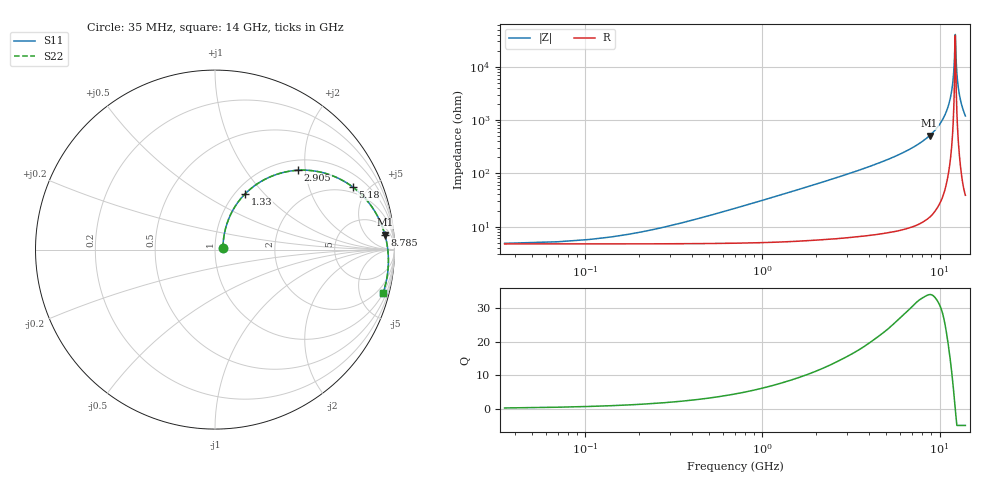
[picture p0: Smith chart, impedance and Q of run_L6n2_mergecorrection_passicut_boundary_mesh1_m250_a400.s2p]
#  Hz  S  RI  R  50
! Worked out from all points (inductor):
!   400 points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, 35 MHz to 14 GHz, reference 50 ohm
!   read as one part in series: L = 4.86 nH near 490 MHz
!   highest Q = 34.1 at 8.785 GHz (marker M1), where L = 9.22 nH
!   self-resonance near 12.25 GHz
!   S11 on the Smith chart (normalised r, x): 35 MHz: 1.09, +0.02; 1.33 GHz: 1.11, +0.78; 2.905 GHz: 1.22, +1.82; 5.18 GHz: 1.64, +3.96; 8.785 GHz: 10, +17; 14 GHz: 1.05, -7.78
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3.5e7  0.044 0.00908  0.9538 -0.0104  0.9538 -0.0105  0.044 0.00907
3.5e8  0.0526 0.0903  0.9419 -0.1029  0.9419 -0.1029  0.0526 0.0902
5.95e8  0.0691 0.1516  0.9205 -0.1703  0.9205 -0.1703  0.0691 0.1516
1.33e9  0.1661 0.3088  0.8139 -0.3333  0.814 -0.3333  0.1661 0.3088
2.38e9  0.3632 0.4253  0.614 -0.4597  0.6139 -0.4597  0.3631 0.4252
2.905e9  0.4605 0.4421  0.5156 -0.4813  0.5156 -0.4813  0.4604 0.442
4.69e9  0.7174 0.3817  0.2564 -0.4399  0.2564 -0.4399  0.7174 0.3817
5.18e9  0.7668 0.3494  0.2065 -0.413  0.2065 -0.413  0.7667 0.3493
7.035e9  0.8912 0.2119  0.0798 -0.296  0.0798 -0.296  0.8911 0.2118
8.785e9  0.9467 0.0831  0.0218 -0.1869  0.0218 -0.1869  0.9466 0.083
9.345e9  0.956 0.0439  0.0116 -0.154  0.0116 -0.154  0.956 0.0438
1.0815e10  0.9662 -0.0539  -0.00101 -0.0731  -0.000995 -0.0731  0.9661 -0.054
1.169e10  0.9643 -0.1085  -0.00067 -0.0286  -0.000683 -0.0285  0.9642 -0.1086
1.204e10  0.962 -0.1296  0.000839 -0.0114  0.000852 -0.0114  0.962 -0.1297
1.2145e10  0.9612 -0.1359  0.00145 -0.00639  0.00147 -0.00638  0.9612 -0.136
1.225e10  0.9604 -0.1421  0.00213 -0.00138  0.00215 -0.00138  0.9603 -0.1422
1.2285e10  0.9601 -0.1442  0.00237 0.000284  0.00239 0.000281  0.96 -0.1443
1.239e10  0.9591 -0.1503  0.00313 0.00524  0.00316 0.00523  0.9591 -0.1505
1.246e10  0.9585 -0.1544  0.00368 0.00852  0.0037 0.0085  0.9584 -0.1546
1.274e10  0.9555 -0.1707  0.00612 0.0215  0.00611 0.0214  0.9554 -0.1709
1.323e10  0.9491 -0.1986  0.0113 0.0435  0.0113 0.0435  0.949 -0.1986
1.4e10  0.9367 -0.2405  0.0221 0.0767  0.0221 0.0767  0.9367 -0.2407
